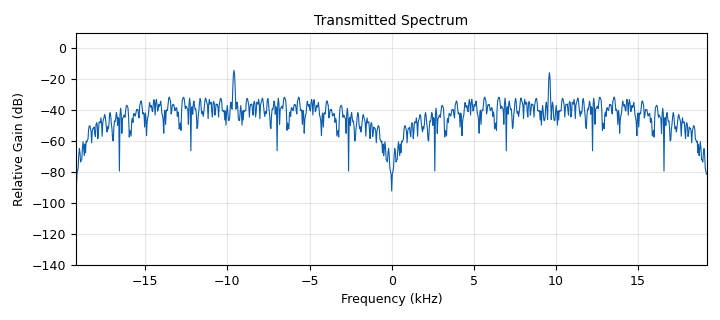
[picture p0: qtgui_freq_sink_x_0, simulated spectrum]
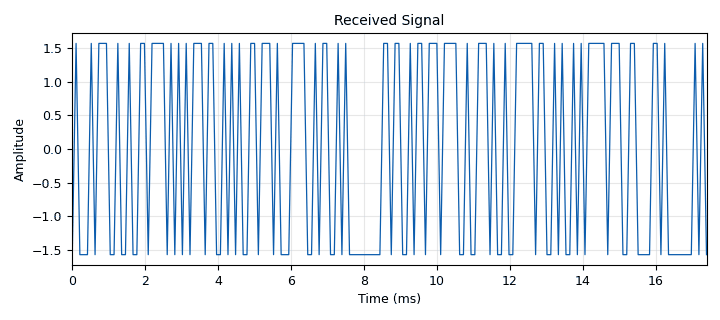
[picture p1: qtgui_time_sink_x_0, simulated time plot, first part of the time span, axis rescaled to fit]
<?xml version='1.0' encoding='utf-8'?>
<?grc format='1' created='3.7.13'?>
<flow_graph>
<block>
<key>options</key>
<param><key>id</key><value>top_block</value></param>
<param><key>generate_options</key><value>qt_gui</value></param>
</block>
<block>
<key>variable</key>
<param><key>id</key><value>baudrate</value></param>
<param><key>value</key><value>9600.0</value></param>
</block>
<block>
<key>variable_qtgui_range</key>
<param><key>id</key><value>cfo</value></param>
<param><key>value</key><value>0.0</value></param>
<param><key>label</key><value>Carrier Frequency Offset (Hz)</value></param>
<param><key>orient</key><value>Qt.Horizontal</value></param>
<param><key>start</key><value>-samp_rate/2.0</value></param>
<param><key>step</key><value>10</value></param>
<param><key>stop</key><value>samp_rate/2.0</value></param>
</block>
<block>
<key>variable</key>
<param><key>id</key><value>deviation</value></param>
<param><key>value</key><value>9600.0</value></param>
</block>
<block>
<key>variable</key>
<param><key>id</key><value>modulation_index</value></param>
<param><key>value</key><value>2.0 * deviation / baudrate</value></param>
</block>
<block>
<key>variable_qtgui_range</key>
<param><key>id</key><value>noise</value></param>
<param><key>value</key><value>0.0</value></param>
<param><key>label</key><value>Noise Amplitude</value></param>
<param><key>orient</key><value>Qt.Horizontal</value></param>
<param><key>start</key><value>0</value></param>
<param><key>step</key><value>0.01</value></param>
<param><key>stop</key><value>1</value></param>
</block>
<block>
<key>variable</key>
<param><key>id</key><value>samp_rate</value></param>
<param><key>value</key><value>baudrate * sps</value></param>
</block>
<block>
<key>variable</key>
<param><key>id</key><value>sps</value></param>
<param><key>comment</key><value>Samples per symbol</value></param>
<param><key>value</key><value>4</value></param>
</block>
<block>
<key>analog_frequency_modulator_fc</key>
<param><key>id</key><value>analog_frequency_modulator_fc_0</value></param>
<param><key>sensitivity</key><value>(math.pi * modulation_index) / sps</value></param>
</block>
<block>
<key>analog_noise_source_x</key>
<param><key>id</key><value>analog_noise_source_x_0</value></param>
<param><key>amp</key><value>noise</value></param>
<param><key>noise_type</key><value>analog.GR_GAUSSIAN</value></param>
<param><key>type</key><value>complex</value></param>
<param><key>seed</key><value>0</value></param>
</block>
<block>
<key>analog_quadrature_demod_cf</key>
<param><key>id</key><value>analog_quadrature_demod_cf_0</value></param>
<param><key>comment</key><value>Quadrature demodulation block is used to decode
the signal</value></param>
<param><key>gain</key><value>1.0</value></param>
</block>
<block>
<key>analog_random_source_x</key>
<param><key>id</key><value>analog_random_source_x_0</value></param>
<param><key>max</key><value>256</value></param>
<param><key>min</key><value>0</value></param>
<param><key>num_samps</key><value>1000</value></param>
<param><key>type</key><value>byte</value></param>
<param><key>repeat</key><value>True</value></param>
</block>
<block>
<key>analog_sig_source_x</key>
<param><key>id</key><value>analog_sig_source_x_0</value></param>
<param><key>amp</key><value>1</value></param>
<param><key>freq</key><value>cfo</value></param>
<param><key>offset</key><value>0</value></param>
<param><key>type</key><value>complex</value></param>
<param><key>samp_rate</key><value>samp_rate</value></param>
<param><key>waveform</key><value>analog.GR_COS_WAVE</value></param>
</block>
<block>
<key>blocks_add_xx</key>
<param><key>id</key><value>blocks_add_xx_0</value></param>
<param><key>type</key><value>complex</value></param>
</block>
<block>
<key>blocks_char_to_float</key>
<param><key>id</key><value>blocks_char_to_float_0</value></param>
<param><key>scale</key><value>1</value></param>
</block>
<block>
<key>blocks_multiply_xx</key>
<param><key>id</key><value>blocks_multiply_xx_0</value></param>
<param><key>type</key><value>complex</value></param>
</block>
<block>
<key>blocks_packed_to_unpacked_xx</key>
<param><key>id</key><value>blocks_packed_to_unpacked_xx_0</value></param>
<param><key>bits_per_chunk</key><value>1</value></param>
<param><key>comment</key><value>Split the byte into a stream of bits</value></param>
<param><key>endianness</key><value>gr.GR_MSB_FIRST</value></param>
<param><key>type</key><value>byte</value></param>
</block>
<block>
<key>blocks_repeat</key>
<param><key>id</key><value>blocks_repeat_0</value></param>
<param><key>interp</key><value>sps</value></param>
<param><key>type</key><value>float</value></param>
</block>
<block>
<key>blocks_throttle</key>
<param><key>id</key><value>blocks_throttle_0</value></param>
<param><key>samples_per_second</key><value>samp_rate * 10</value></param>
<param><key>type</key><value>complex</value></param>
</block>
<block>
<key>digital_clock_recovery_mm_xx</key>
<param><key>id</key><value>digital_clock_recovery_mm_xx_0</value></param>
<param><key>gain_mu</key><value>0.175</value></param>
<param><key>gain_omega</key><value>math.pi/100.0</value></param>
<param><key>mu</key><value>0.5</value></param>
<param><key>omega_relative_limit</key><value>0.005</value></param>
<param><key>omega</key><value>sps</value></param>
<param><key>type</key><value>float</value></param>
</block>
<block>
<key>digital_map_bb</key>
<param><key>id</key><value>digital_map_bb_0</value></param>
<param><key>comment</key><value>Map 0 to -1 and 1 to 1.</value></param>
<param><key>map</key><value>[-1, 1]</value></param>
</block>
<block>
<key>import</key>
<param><key>id</key><value>import_0</value></param>
<param><key>import</key><value>import math</value></param>
</block>
<block>
<key>qtgui_freq_sink_x</key>
<param><key>id</key><value>qtgui_freq_sink_x_0</value></param>
<param><key>bw</key><value>samp_rate</value></param>
<param><key>fc</key><value>0</value></param>
<param><key>fftsize</key><value>1024</value></param>
<param><key>name</key><value>"Transmitted Spectrum"</value></param>
<param><key>showports</key><value>True</value></param>
<param><key>type</key><value>complex</value></param>
<param><key>wintype</key><value>firdes.WIN_BLACKMAN_hARRIS</value></param>
</block>
<block>
<key>qtgui_time_sink_x</key>
<param><key>id</key><value>qtgui_time_sink_x_0</value></param>
<param><key>color1</key><value>"blue"</value></param>
<param><key>label1</key><value></value></param>
<param><key>name</key><value>"Received Signal"</value></param>
<param><key>size</key><value>1024</value></param>
<param><key>srate</key><value>samp_rate / sps</value></param>
<param><key>type</key><value>float</value></param>
</block>
<connection><source_block_id>analog_frequency_modulator_fc_0</source_block_id><sink_block_id>blocks_add_xx_0</sink_block_id><source_key>0</source_key><sink_key>1</sink_key></connection>
<connection><source_block_id>analog_noise_source_x_0</source_block_id><sink_block_id>blocks_add_xx_0</sink_block_id><source_key>0</source_key><sink_key>0</sink_key></connection>
<connection><source_block_id>analog_quadrature_demod_cf_0</source_block_id><sink_block_id>digital_clock_recovery_mm_xx_0</sink_block_id><source_key>0</source_key><sink_key>0</sink_key></connection>
<connection><source_block_id>analog_random_source_x_0</source_block_id><sink_block_id>blocks_packed_to_unpacked_xx_0</sink_block_id><source_key>0</source_key><sink_key>0</sink_key></connection>
<connection><source_block_id>analog_sig_source_x_0</source_block_id><sink_block_id>blocks_multiply_xx_0</sink_block_id><source_key>0</source_key><sink_key>0</sink_key></connection>
<connection><source_block_id>blocks_add_xx_0</source_block_id><sink_block_id>blocks_multiply_xx_0</sink_block_id><source_key>0</source_key><sink_key>1</sink_key></connection>
<connection><source_block_id>blocks_char_to_float_0</source_block_id><sink_block_id>blocks_repeat_0</sink_block_id><source_key>0</source_key><sink_key>0</sink_key></connection>
<connection><source_block_id>blocks_multiply_xx_0</source_block_id><sink_block_id>analog_quadrature_demod_cf_0</sink_block_id><source_key>0</source_key><sink_key>0</sink_key></connection>
<connection><source_block_id>blocks_multiply_xx_0</source_block_id><sink_block_id>blocks_throttle_0</sink_block_id><source_key>0</source_key><sink_key>0</sink_key></connection>
<connection><source_block_id>blocks_packed_to_unpacked_xx_0</source_block_id><sink_block_id>digital_map_bb_0</sink_block_id><source_key>0</source_key><sink_key>0</sink_key></connection>
<connection><source_block_id>blocks_repeat_0</source_block_id><sink_block_id>analog_frequency_modulator_fc_0</sink_block_id><source_key>0</source_key><sink_key>0</sink_key></connection>
<connection><source_block_id>blocks_throttle_0</source_block_id><sink_block_id>qtgui_freq_sink_x_0</sink_block_id><source_key>0</source_key><sink_key>0</sink_key></connection>
<connection><source_block_id>digital_clock_recovery_mm_xx_0</source_block_id><sink_block_id>qtgui_time_sink_x_0</sink_block_id><source_key>0</source_key><sink_key>0</sink_key></connection>
<connection><source_block_id>digital_map_bb_0</source_block_id><sink_block_id>blocks_char_to_float_0</sink_block_id><source_key>0</source_key><sink_key>0</sink_key></connection>
</flow_graph>
